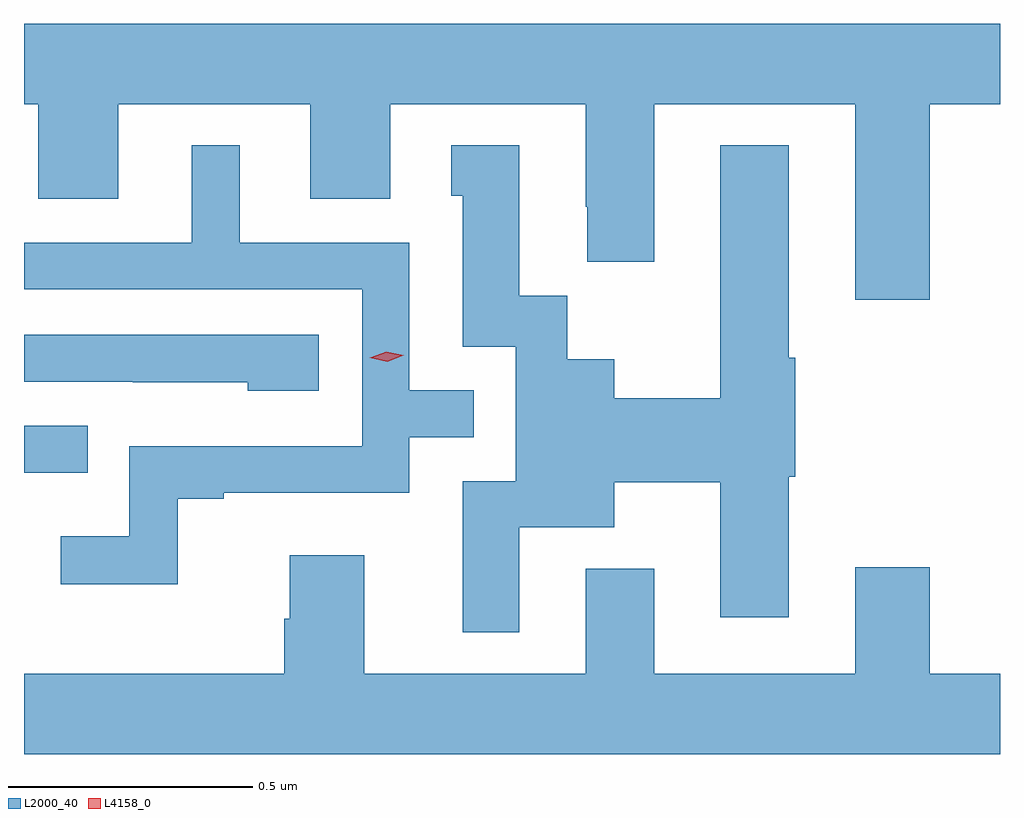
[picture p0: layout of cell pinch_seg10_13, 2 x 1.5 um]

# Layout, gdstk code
import gdstk
lib = gdstk.Library(unit=1e-6, precision=1e-09)
def R(c, l, rs):  # rectangles x0, y0, x1, y1
    for r in rs: c.add(gdstk.rectangle(r[:2], r[2:], *l))
def P(c, l, *ps):  # polygons
    for p in ps: c.add(gdstk.Polygon(p, *l))
L2000_40 = (2000, 40)
L4158_0 = (4158, 0)

pinch_seg10_13 = lib.new_cell('pinch_seg10_13')
R(pinch_seg10_13, L2000_40, [(1005.228,1259.6,1005.359,1259.697)])
P(pinch_seg10_13, L2000_40, [(1007.084,1260.356),(1007.228,1260.356),(1007.228,1260.52),(1005.228,1260.52),(1005.228,1260.356),(1005.257,1260.356),(1005.257,1260.162),(1005.421,1260.162),(1005.421,1260.356),(1005.815,1260.356),(1005.815,1260.162),(1005.979,1260.162),(1005.979,1260.356),(1006.379,1260.356),(1006.379,1260.145),(1006.382,1260.145),(1006.382,1260.033),(1006.519,1260.033),(1006.519,1260.356),(1006.931,1260.356),(1006.931,1259.955),(1007.084,1259.955)],
  [(1005.543,1259.547),(1005.637,1259.547),(1005.637,1259.559),(1006.017,1259.559),(1006.017,1259.673),(1006.15,1259.673),(1006.15,1259.769),(1006.017,1259.769),(1006.017,1260.072),(1005.67,1260.072),(1005.67,1260.271),(1005.572,1260.271),(1005.572,1260.072),(1005.228,1260.072),(1005.228,1259.976),(1005.921,1259.976),(1005.921,1259.655),(1005.444,1259.655),(1005.444,1259.47),(1005.303,1259.47),(1005.303,1259.372),(1005.543,1259.372)],
  [(1006.243,1259.489),(1006.438,1259.489),(1006.438,1259.581),(1006.655,1259.581),(1006.655,1259.304),(1006.795,1259.304),(1006.795,1259.592),(1006.808,1259.592),(1006.808,1259.836),(1006.795,1259.836),(1006.795,1260.271),(1006.655,1260.271),(1006.655,1259.753),(1006.438,1259.753),(1006.438,1259.833),(1006.341,1259.833),(1006.341,1259.963),(1006.243,1259.963),(1006.243,1260.271),(1006.103,1260.271),(1006.103,1260.168),(1006.127,1260.168),(1006.127,1259.859),(1006.236,1259.859),(1006.236,1259.583),(1006.127,1259.583),(1006.127,1259.274),(1006.243,1259.274)],
  [(1005.832,1259.883),(1005.228,1259.883),(1005.228,1259.787),(1005.451,1259.787),(1005.451,1259.786),(1005.687,1259.786),(1005.687,1259.768),(1005.832,1259.768)],
  [(1007.228,1259.188),(1007.084,1259.188),(1007.084,1259.407),(1006.931,1259.407),(1006.931,1259.188),(1006.519,1259.188),(1006.519,1259.404),(1006.379,1259.404),(1006.379,1259.188),(1005.925,1259.188),(1005.925,1259.431),(1005.773,1259.431),(1005.773,1259.301),(1005.761,1259.301),(1005.761,1259.188),(1005.228,1259.188),(1005.228,1259.024),(1007.228,1259.024)])
P(pinch_seg10_13, L4158_0, [(1005.972,1259.828),(1005.937,1259.836),(1005.937,1259.836),(1005.937,1259.836),(1005.97,1259.848),(1006.006,1259.841),(1006.006,1259.841),(1006.006,1259.841)])

lib.write_gds('pinch_seg10_13.gds')
